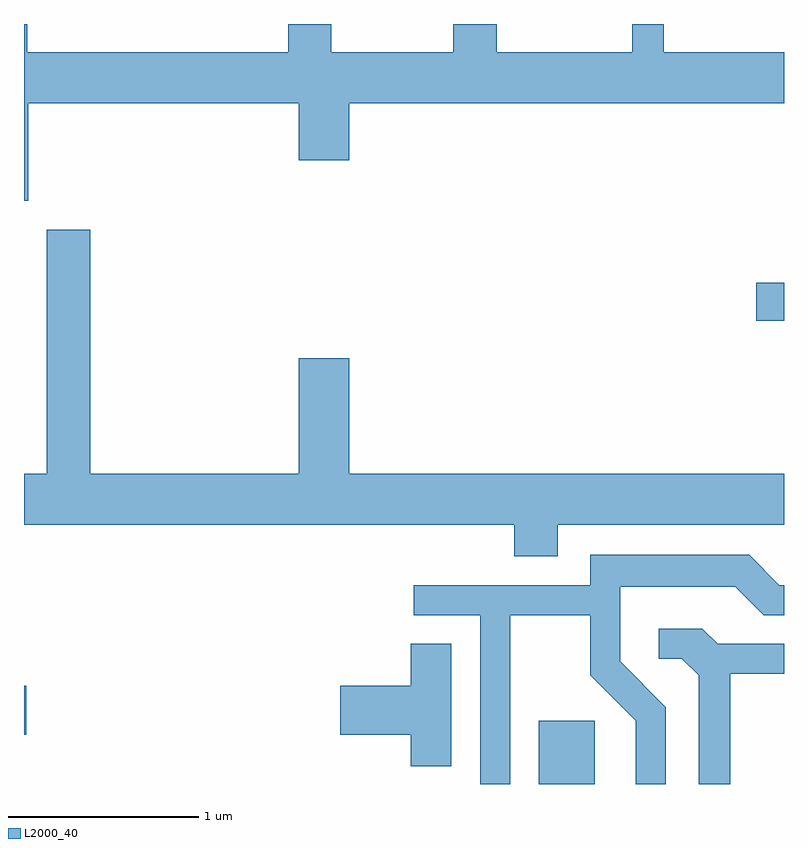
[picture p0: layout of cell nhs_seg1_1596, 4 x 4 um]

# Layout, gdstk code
import gdstk
lib = gdstk.Library(unit=1e-6, precision=1e-09)
def R(c, l, rs):  # rectangles x0, y0, x1, y1
    for r in rs: c.add(gdstk.rectangle(r[:2], r[2:], *l))
def P(c, l, *ps):  # polygons
    for p in ps: c.add(gdstk.Polygon(p, *l))
L2000_40 = (2000, 40)

nhs_seg1_1596 = lib.new_cell('nhs_seg1_1596')
R(nhs_seg1_1596, L2000_40, [(236.321,953.712,236.614,954.044), (233.611,953.971,233.624,954.229), (237.466,956.151,237.611,956.349)])
P(nhs_seg1_1596, L2000_40, [(233.634,957.296),(235.056,957.296),(235.056,956.996),(235.324,956.996),(235.324,957.296),(237.611,957.296),(237.611,957.564),(236.979,957.564),(236.979,957.712),(236.811,957.712),(236.811,957.564),(236.099,957.564),(236.099,957.712),(235.871,957.712),(235.871,957.564),(235.229,957.564),(235.229,957.712),(235.001,957.712),(235.001,957.564),(233.629,957.564),(233.629,957.712),(233.611,957.712),(233.611,956.781),(233.634,956.781)],
  [(236.419,955.076),(237.611,955.076),(237.611,955.344),(235.324,955.344),(235.324,955.954),(235.056,955.954),(235.056,955.344),(233.959,955.344),(233.959,956.629),(233.731,956.629),(233.731,955.344),(233.611,955.344),(233.611,955.076),(236.191,955.076),(236.191,954.911),(236.419,954.911)],
  [(236.169,954.601),(236.591,954.601),(236.591,954.284),(236.831,954.044),(236.831,953.712),(236.989,953.712),(236.989,954.117),(236.749,954.357),(236.749,954.751),(237.354,954.751),(237.504,954.601),(237.611,954.601),(237.611,954.759),(237.587,954.759),(237.427,954.919),(236.591,954.919),(236.591,954.759),(235.663,954.759),(235.663,954.601),(236.011,954.601),(236.011,953.712),(236.169,953.712)],
  [(237.329,954.291),(237.611,954.291),(237.611,954.449),(237.262,954.449),(237.182,954.529),(236.953,954.529),(236.953,954.371),(237.074,954.371),(237.161,954.284),(237.161,953.712),(237.329,953.712)],
  [(235.859,954.449),(235.646,954.449),(235.646,954.229),(235.276,954.229),(235.276,953.971),(235.646,953.971),(235.646,953.806),(235.859,953.806)])

lib.write_gds('nhs_seg1_1596.gds')
